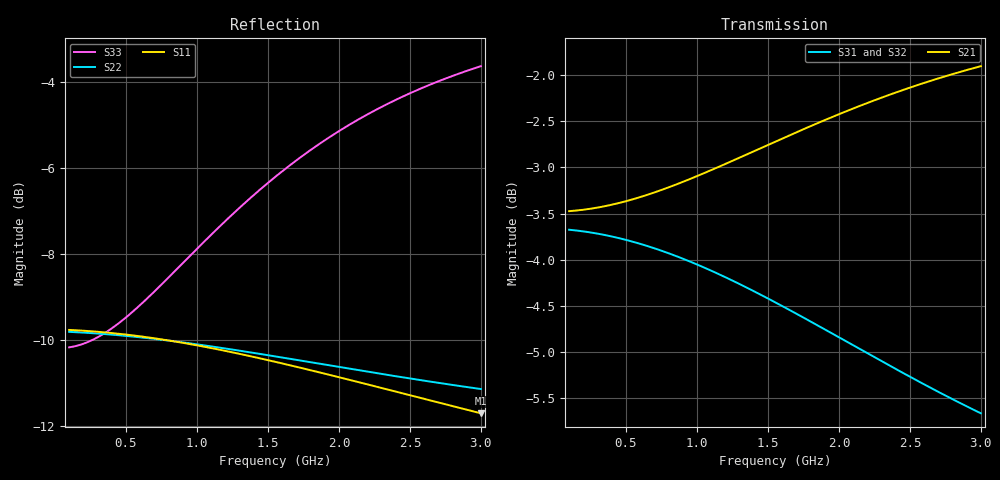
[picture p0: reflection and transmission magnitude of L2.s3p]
! Sonnet Data File
! From: sonnet Version : 18.53-Lite
! From Emgraph Data:
! Data File Written: 04/03/2024 20:13:47
!< HDATE 04/03/2024 20:13:21
!< MDATE 04/03/2024 20:13:21
!< PARAMS
!< W_L = 200.0
!< W_1 = 200.0
!< END PARAMS
# GHZ S MA R 50.00000
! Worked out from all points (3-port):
!   291 points, 100 MHz to 3 GHz, reference 50 ohm
!   strongest paths, dB at 100 MHz, 820 MHz, 1.55 GHz, 2.28 GHz, 3 GHz:
!     S21: -3.5, -3.2, -2.7, -2.3, -1.9
!     S31: -3.7, -3.9, -4.5, -5.1, -5.7
!     S32: -3.7, -4.0, -4.5, -5.2, -5.8
!   lowest |S11| = -11.7 dB at 3 GHz (marker M1), VSWR 1.70, Z = 33.8 + j15.1 ohm
!   |S11| at or under -10 dB: 796.8 MHz to end of sweep
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0.1  0.3252 177.7  0.6704 0.2  0.655 -2.4
     0.6704 0.2  0.3235 177.1  0.6533 -2.7
     0.655 -2.4  0.6533 -2.7  0.3104 171.5
0.28  0.3238 173.9  0.673 0.5  0.6522 -6.5
      0.673 0.5  0.3223 172.2  0.6503 -7.3
      0.6522 -6.5  0.6503 -7.3  0.3175 157.3
0.47  0.3216 169.9  0.6778 0.7  0.6477 -10.7
      0.6778 0.7  0.3204 167.0  0.6455 -12.1
      0.6477 -10.7  0.6455 -12.1  0.3331 143.2
0.87  0.3148 161.7  0.6938 0.8  0.6331 -19.4
      0.6938 0.8  0.315 156.6  0.6302 -22.0
      0.6331 -19.4  0.6302 -22.0  0.3844 117.8
1.21  0.3072 155.1  0.7116 0.4  0.6169 -26.5
      0.7116 0.4  0.3093 148.2  0.613 -30.1
      0.6169 -26.5  0.613 -30.1  0.4368 100.6
1.55  0.2986 148.9  0.731 -0.5  0.5984 -33.1
      0.731 -0.5  0.303 140.3  0.5935 -37.7
      0.5984 -33.1  0.5935 -37.7  0.4896 86.4
1.88  0.2898 143.3  0.7499 -1.8  0.5796 -39.1
      0.7499 -1.8  0.2968 133.3  0.5736 -44.7
      0.5796 -39.1  0.5736 -44.7  0.5376 74.8
2.22  0.2806 137.9  0.7683 -3.4  0.5604 -44.9
      0.7683 -3.4  0.2905 126.7  0.5531 -51.5
      0.5604 -44.9  0.5531 -51.5  0.5814 64.4
2.59  0.2707 132.4  0.7863 -5.4  0.5406 -50.8
      0.7863 -5.4  0.2841 120.2  0.5317 -58.4
      0.5406 -50.8  0.5317 -58.4  0.622 54.6
3  0.2601 126.9  0.8033 -7.9  0.5209 -56.8
   0.8033 -7.9  0.2776 113.9  0.5101 -65.5
   0.5209 -56.8  0.5101 -65.5  0.659 44.9
